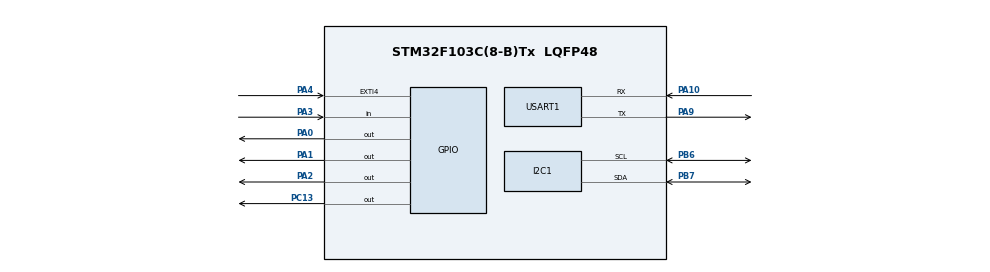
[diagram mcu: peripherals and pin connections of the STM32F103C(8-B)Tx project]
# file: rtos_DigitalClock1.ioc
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Mcu.Family=STM32F1
Mcu.Name=STM32F103C(8-B)Tx
Mcu.Package=LQFP48
NVIC.EXTI4_IRQn=true\:0\:0\:false\:false\:true\:true\:true\:true
NVIC.PriorityGroup=NVIC_PRIORITYGROUP_4
NVIC.TIM4_IRQn=true\:15\:0\:false\:false\:true\:false\:true\:true
NVIC.TimeBase=TIM4_IRQn
NVIC.TimeBaseIP=TIM4
NVIC.USART1_IRQn=true\:6\:0\:true\:false\:true\:true\:true\:true
PA0-WKUP.Signal=GPIO_Output
PA1.Signal=GPIO_Output
PA10.Mode=Asynchronous
PA10.Signal=USART1_RX
PA2.Signal=GPIO_Output
PA3.Signal=GPIO_Input
PA4.Signal=GPXTI4
PA9.Mode=Asynchronous
PA9.Signal=USART1_TX
PB6.Mode=I2C
PB6.Signal=I2C1_SCL
PB7.Mode=I2C
PB7.Signal=I2C1_SDA
PC13-TAMPER-RTC.Signal=GPIO_Output
ProjectManager.HeapSize=0x200
ProjectManager.StackSize=0x400
ProjectManager.TargetToolchain=STM32CubeIDE
RCC.APB1Freq_Value=8000000
RCC.APB2Freq_Value=8000000
USART1.VirtualMode=VM_ASYNC
VP_RTC_VS_RTC_Activate.Mode=RTC_Enabled
VP_RTC_VS_RTC_Calendar.Mode=RTC_Calendar
VP_SYS_VS_ND.Mode=No_Debug
VP_SYS_VS_tim4.Mode=TIM4
board=custom

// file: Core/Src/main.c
/* USER CODE BEGIN Header */
/**
  ******************************************************************************
  * @file           : main.c
  * @brief          : Main program body
  ******************************************************************************
  * @attention
  *
  * Copyright (c) 2025 STMicroelectronics.
  * All rights reserved.
  *
  * This software is licensed under terms that can be found in the LICENSE file
  * in the root directory of this software component.
  * If no LICENSE file comes with this software, it is provided AS-IS.
  *
  ******************************************************************************
  */
/* USER CODE END Header */
#include "main.h"

/* USER CODE BEGIN Includes */
#include "FreeRTOS.h"
#include "task.h"
#include "semphr.h"
#include "lcd.h"
/* USER CODE END Includes */

I2C_HandleTypeDef hi2c1;

RTC_HandleTypeDef hrtc;

UART_HandleTypeDef huart1;

void SystemClock_Config(void);
static void MX_GPIO_Init(void);
static void MX_USART1_UART_Init(void);
static void MX_I2C1_Init(void);
static void MX_RTC_Init(void);
/* USER CODE BEGIN PFP */

void RTC_handler(void *pvparameter);
void RTC_ProceesData_handler(void *pvparameter);
void Uart_handler(void *pvparameter);
void Lcd_handler(void *pvparameter);

/* USER CODE END PFP */

/* USER CODE BEGIN 0 */
RTC_TimeTypeDef gTime;
uint8_t time[9]={'0','0',':','0','0',':','0','0','\0'};

TaskHandle_t RTC_handle,RTC_ProceesData_handle,Uart_handle,Lcd_handle;
SemaphoreHandle_t mutex_RTC_rawData,mutex_Time;

/* USER CODE END 0 */

int main(void)
{

  /* USER CODE BEGIN 1 */
	BaseType_t status;
  /* USER CODE END 1 */

  /* MCU Configuration--------------------------------------------------------*/

  /* Reset of all peripherals, Initializes the Flash interface and the Systick. */
  HAL_Init();

  /* Configure the system clock */
  SystemClock_Config();

  /* Initialize all configured peripherals */
  MX_GPIO_Init();
  MX_USART1_UART_Init();
  MX_I2C1_Init();
  MX_RTC_Init();
  /* USER CODE BEGIN 2 */
  HAL_GPIO_WritePin(GPIOC, GPIO_PIN_13, 1);
  lcd_init();
    status = xTaskCreate(RTC_handler, "rtc_task", 200, NULL, 2, &RTC_handle);
	configASSERT(status == pdPASS);

	status = xTaskCreate(RTC_ProceesData_handler,"dataprocessing_task",200, NULL, 1, &RTC_ProceesData_handle);
	configASSERT(status == pdPASS);

	status = xTaskCreate(Uart_handler,"uart_task",200, NULL, 1, &Uart_handle);
	configASSERT(status == pdPASS);

	status = xTaskCreate(Lcd_handler,"lcd_task",300, NULL, 1, &Lcd_handle);
	configASSERT(status == pdPASS);

	mutex_RTC_rawData = xSemaphoreCreateMutex();
	mutex_Time= xSemaphoreCreateMutex();

	vTaskStartScheduler();
  /* USER CODE END 2 */

  /* Infinite loop */
  while (1)
  {

  }
}

void SystemClock_Config(void)
{
  RCC_OscInitTypeDef RCC_OscInitStruct = {0};
  RCC_ClkInitTypeDef RCC_ClkInitStruct = {0};
  RCC_PeriphCLKInitTypeDef PeriphClkInit = {0};

  /** Initializes the RCC Oscillators according to the specified parameters
  * in the RCC_OscInitTypeDef structure.
  */
  RCC_OscInitStruct.OscillatorType = RCC_OSCILLATORTYPE_HSI|RCC_OSCILLATORTYPE_LSI;
  RCC_OscInitStruct.HSIState = RCC_HSI_ON;
  RCC_OscInitStruct.HSICalibrationValue = RCC_HSICALIBRATION_DEFAULT;
  RCC_OscInitStruct.LSIState = RCC_LSI_ON;
  RCC_OscInitStruct.PLL.PLLState = RCC_PLL_NONE;
  if (HAL_RCC_OscConfig(&RCC_OscInitStruct) != HAL_OK)
  {
    Error_Handler();
  }

  /** Initializes the CPU, AHB and APB buses clocks
  */
  RCC_ClkInitStruct.ClockType = RCC_CLOCKTYPE_HCLK|RCC_CLOCKTYPE_SYSCLK
                              |RCC_CLOCKTYPE_PCLK1|RCC_CLOCKTYPE_PCLK2;
  RCC_ClkInitStruct.SYSCLKSource = RCC_SYSCLKSOURCE_HSI;
  RCC_ClkInitStruct.AHBCLKDivider = RCC_SYSCLK_DIV1;
  RCC_ClkInitStruct.APB1CLKDivider = RCC_HCLK_DIV1;
  RCC_ClkInitStruct.APB2CLKDivider = RCC_HCLK_DIV1;

  if (HAL_RCC_ClockConfig(&RCC_ClkInitStruct, FLASH_LATENCY_0) != HAL_OK)
  {
    Error_Handler();
  }
  PeriphClkInit.PeriphClockSelection = RCC_PERIPHCLK_RTC;
  PeriphClkInit.RTCClockSelection = RCC_RTCCLKSOURCE_LSI;
  if (HAL_RCCEx_PeriphCLKConfig(&PeriphClkInit) != HAL_OK)
  {
    Error_Handler();
  }
}

static void MX_I2C1_Init(void)
{

  hi2c1.Instance = I2C1;
  hi2c1.Init.ClockSpeed = 100000;
  hi2c1.Init.DutyCycle = I2C_DUTYCYCLE_2;
  hi2c1.Init.OwnAddress1 = 0;
  hi2c1.Init.AddressingMode = I2C_ADDRESSINGMODE_7BIT;
  hi2c1.Init.DualAddressMode = I2C_DUALADDRESS_DISABLE;
  hi2c1.Init.OwnAddress2 = 0;
  hi2c1.Init.GeneralCallMode = I2C_GENERALCALL_DISABLE;
  hi2c1.Init.NoStretchMode = I2C_NOSTRETCH_DISABLE;
  if (HAL_I2C_Init(&hi2c1) != HAL_OK)
  {
    Error_Handler();
  }

}

static void MX_RTC_Init(void)
{

  RTC_TimeTypeDef sTime = {0};
  RTC_DateTypeDef DateToUpdate = {0};

  /** Initialize RTC Only
  */
  hrtc.Instance = RTC;
  hrtc.Init.AsynchPrediv = RTC_AUTO_1_SECOND;
  hrtc.Init.OutPut = RTC_OUTPUTSOURCE_ALARM;
  if (HAL_RTC_Init(&hrtc) != HAL_OK)
  {
    Error_Handler();
  }

  /** Initialize RTC and set the Time and Date
  */
  sTime.Hours = 0x0;
  sTime.Minutes = 0x0;
  sTime.Seconds = 0x0;

  if (HAL_RTC_SetTime(&hrtc, &sTime, RTC_FORMAT_BCD) != HAL_OK)
  {
    Error_Handler();
  }
  DateToUpdate.WeekDay = RTC_WEEKDAY_MONDAY;
  DateToUpdate.Month = RTC_MONTH_JANUARY;
  DateToUpdate.Date = 0x1;
  DateToUpdate.Year = 0x0;

  if (HAL_RTC_SetDate(&hrtc, &DateToUpdate, RTC_FORMAT_BCD) != HAL_OK)
  {
    Error_Handler();
  }

}

static void MX_USART1_UART_Init(void)
{

  huart1.Instance = USART1;
  huart1.Init.BaudRate = 115200;
  huart1.Init.WordLength = UART_WORDLENGTH_8B;
  huart1.Init.StopBits = UART_STOPBITS_1;
  huart1.Init.Parity = UART_PARITY_NONE;
  huart1.Init.Mode = UART_MODE_TX_RX;
  huart1.Init.HwFlowCtl = UART_HWCONTROL_NONE;
  huart1.Init.OverSampling = UART_OVERSAMPLING_16;
  if (HAL_UART_Init(&huart1) != HAL_OK)
  {
    Error_Handler();
  }

}

static void MX_GPIO_Init(void)
{
  GPIO_InitTypeDef GPIO_InitStruct = {0};

  /* GPIO Ports Clock Enable */
  __HAL_RCC_GPIOC_CLK_ENABLE();
  __HAL_RCC_GPIOA_CLK_ENABLE();
  __HAL_RCC_GPIOB_CLK_ENABLE();

  /*Configure GPIO pin Output Level */
  HAL_GPIO_WritePin(GPIOC, GPIO_PIN_13, GPIO_PIN_RESET);

  /*Configure GPIO pin Output Level */
  HAL_GPIO_WritePin(GPIOA, GPIO_PIN_0|GPIO_PIN_1|GPIO_PIN_2, GPIO_PIN_RESET);

  /*Configure GPIO pin : PC13 */
  GPIO_InitStruct.Pin = GPIO_PIN_13;
  GPIO_InitStruct.Mode = GPIO_MODE_OUTPUT_PP;
  GPIO_InitStruct.Pull = GPIO_NOPULL;
  GPIO_InitStruct.Speed = GPIO_SPEED_FREQ_LOW;
  HAL_GPIO_Init(GPIOC, &GPIO_InitStruct);

  /*Configure GPIO pins : PA0 PA1 PA2 */
  GPIO_InitStruct.Pin = GPIO_PIN_0|GPIO_PIN_1|GPIO_PIN_2;
  GPIO_InitStruct.Mode = GPIO_MODE_OUTPUT_PP;
  GPIO_InitStruct.Pull = GPIO_NOPULL;
  GPIO_InitStruct.Speed = GPIO_SPEED_FREQ_LOW;
  HAL_GPIO_Init(GPIOA, &GPIO_InitStruct);

  /*Configure GPIO pin : PA3 */
  GPIO_InitStruct.Pin = GPIO_PIN_3;
  GPIO_InitStruct.Mode = GPIO_MODE_INPUT;
  GPIO_InitStruct.Pull = GPIO_NOPULL;
  HAL_GPIO_Init(GPIOA, &GPIO_InitStruct);

  /*Configure GPIO pin : PA4 */
  GPIO_InitStruct.Pin = GPIO_PIN_4;
  GPIO_InitStruct.Mode = GPIO_MODE_IT_RISING;
  GPIO_InitStruct.Pull = GPIO_NOPULL;
  HAL_GPIO_Init(GPIOA, &GPIO_InitStruct);

  /* EXTI interrupt init*/
  HAL_NVIC_SetPriority(EXTI4_IRQn, 0, 0);
  HAL_NVIC_EnableIRQ(EXTI4_IRQn);

}

/* USER CODE BEGIN 4 */
void RTC_handler(void *pvparameter){
	TickType_t period = xTaskGetTickCount();
	HAL_UART_Transmit(&huart1, "RTC",3, 1000);
	while(1){
		xSemaphoreTake(mutex_RTC_rawData,portMAX_DELAY);
		HAL_RTC_GetTime(&hrtc, &gTime, RTC_FORMAT_BCD);
		xSemaphoreGive(mutex_RTC_rawData);

		xTaskNotify(RTC_ProceesData_handle,0,eNoAction);
		xTaskDelayUntil(&period,pdMS_TO_TICKS(1000));
	}
}

void RTC_ProceesData_handler(void *pvparameter){
	uint8_t hours,min,sec;
	HAL_UART_Transmit(&huart1, "processdata", 11, 1000);
	while(1){

		xTaskNotifyWait(0,0,NULL,portMAX_DELAY);
		xSemaphoreTake(mutex_RTC_rawData,portMAX_DELAY);
		hours = gTime.Hours;
		min = gTime.Minutes;
		sec= gTime.Seconds;
		xSemaphoreGive(mutex_RTC_rawData);

		xSemaphoreTake(mutex_Time,portMAX_DELAY);
		time[0] = ((hours&0xF0)>>4)+0x30;
		time[1] = (hours&0x0F)+0x30;
		time[3] = ((min&0xF0)>>4)+0x30;
		time[4] = (min&0x0F)+0x30;
		time[6] = ((sec&0xF0)>>4)+0x30;
		time[7] = (sec&0x0F)+0x30;
		xSemaphoreGive(mutex_Time);

		taskENTER_CRITICAL();
		xTaskNotify(Uart_handle,0,eNoAction);
		xTaskNotify(Lcd_handle,0,eNoAction);
		taskEXIT_CRITICAL();

	}
}

void Uart_handler(void *pvparameter){
	HAL_UART_Transmit(&huart1, "UART1,", 6, 1000);
	while(1){
		xTaskNotifyWait(0,0,NULL,portMAX_DELAY);

		xSemaphoreTake(mutex_Time,portMAX_DELAY);
		HAL_UART_Transmit(&huart1, time, 8, 100);
		HAL_UART_Transmit(&huart1, "\n\r", 2, 100);
		xSemaphoreGive(mutex_Time);
	}
}
void Lcd_handler(void *pvparameter){
	HAL_UART_Transmit(&huart1, "LCD1", 4, 1000);
	while(1){
		xTaskNotifyWait(0,0,NULL,portMAX_DELAY);

		xSemaphoreTake(mutex_Time,portMAX_DELAY);
		lcd_write_command4bitmode(0x80);
		lcd_write_data4bitmode(time);
		xSemaphoreGive(mutex_Time);
	}
}
/* USER CODE END 4 */

void HAL_TIM_PeriodElapsedCallback(TIM_HandleTypeDef *htim)
{
  if (htim->Instance == TIM4)
  {
    HAL_IncTick();
  }
}

void Error_Handler(void)
{
  __disable_irq();
  while (1)
  {
  }
}
